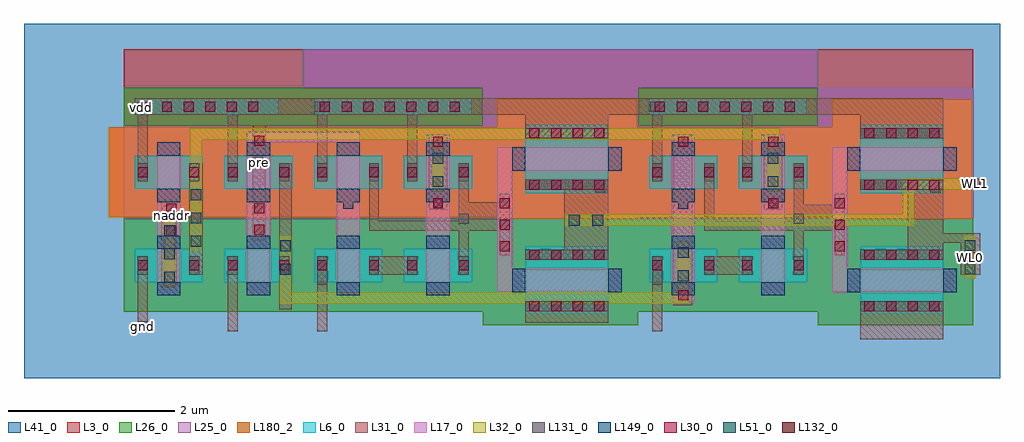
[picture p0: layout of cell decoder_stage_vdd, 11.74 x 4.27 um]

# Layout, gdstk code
from math import pi, radians
import gdstk
lib = gdstk.Library(unit=1e-6, precision=1e-09)
def R(c, l, rs):  # rectangles x0, y0, x1, y1
    for r in rs: c.add(gdstk.rectangle(r[:2], r[2:], *l))
def A(c, l, x, y, w, h, nx, ny, dx, dy):  # array of equal rectangles
    R(c, l, [(x+i*dx, y+j*dy, x+i*dx+w, y+j*dy+h) for i in range(nx) for j in range(ny)])
L3_0 = (3, 0)
L6_0 = (6, 0)
L17_0 = (17, 0)
L25_0 = (25, 0)
L26_0 = (26, 0)
L30_0 = (30, 0)
L31_0 = (31, 0)
L32_0 = (32, 0)
L41_0 = (41, 0)
L51_0 = (51, 0)
L131_0 = (131, 0)
L132_0 = (132, 0)
L149_0 = (149, 0)
L180_2 = (180, 2)

pc_ct = lib.new_cell('pc_ct')
R(pc_ct, L30_0, [(0,0,0.12,0.12)])

nsvt25_cdns_588098100100 = lib.new_cell('nsvt25_CDNS_588098100100')
R(nsvt25_cdns_588098100100, L6_0, [(-0.27,0,0,0.4), (-0.27,0,0.55,0.4), (0.28,0,0.55,0.4)])
R(nsvt25_cdns_588098100100, L17_0, [(0,-0.16,0.28,0.56)])
R(nsvt25_cdns_588098100100, L26_0, [(-0.4,-0.36,0.68,0.76)])
R(nsvt25_cdns_588098100100, L31_0, [(-0.23,0.09,-0.11,0.31), (0.39,0.09,0.51,0.31)])
R(nsvt25_cdns_588098100100, L41_0, [(-0.54,-0.34,0.82,0.74)])
R(nsvt25_cdns_588098100100, L131_0, [(-0.23,0.09,-0.11,0.31), (0.39,0.09,0.51,0.31)])
R(nsvt25_cdns_588098100100, L149_0, [(0,-0.16,0.28,0), (0,0.4,0.28,0.56)])
r = gdstk.Reference(pc_ct, (0.39,0.14)); r.repetition = gdstk.Repetition(1, 1, v1=(0.26,0), v2=(0,0.26)); nsvt25_cdns_588098100100.add(r)
r = gdstk.Reference(pc_ct, (-0.23,0.14)); r.repetition = gdstk.Repetition(1, 1, v1=(0.26,0), v2=(0,0.26)); nsvt25_cdns_588098100100.add(r)
nsvt25_cdns_588098100100.add(gdstk.Label('d', (0.28,0), layer=6, texttype=0))
nsvt25_cdns_588098100100.add(gdstk.Label('s', (0,0), layer=6, texttype=0))
nsvt25_cdns_588098100100.add(gdstk.Label('d', (0.415,0.2), layer=127, texttype=0))
nsvt25_cdns_588098100100.add(gdstk.Label('s', (-0.135,0.2), layer=127, texttype=0))
nsvt25_cdns_588098100100.add(gdstk.Label('d', (0.45,0.2), layer=131, texttype=0))
nsvt25_cdns_588098100100.add(gdstk.Label('s', (-0.17,0.2), layer=131, texttype=0))
nsvt25_cdns_588098100100.add(gdstk.Label('g', (0.14,0.48), layer=149, texttype=0))
nsvt25_cdns_588098100100.add(gdstk.Label('g', (0.14,-0.08), layer=149, texttype=0))

psvt25_cdns_588098100101 = lib.new_cell('psvt25_CDNS_588098100101')
R(psvt25_cdns_588098100101, L3_0, [(-0.58,-0.34,0.86,0.74)])
R(psvt25_cdns_588098100101, L6_0, [(-0.27,0,0,0.4), (-0.27,0,0.55,0.4), (0.28,0,0.55,0.4)])
R(psvt25_cdns_588098100101, L17_0, [(0,-0.16,0.28,0.56)])
R(psvt25_cdns_588098100101, L25_0, [(-0.4,-0.36,0.68,0.76)])
R(psvt25_cdns_588098100101, L31_0, [(-0.23,0.09,-0.11,0.31), (0.39,0.09,0.51,0.31)])
R(psvt25_cdns_588098100101, L41_0, [(-0.58,-0.34,0.86,0.74)])
R(psvt25_cdns_588098100101, L131_0, [(-0.23,0.09,-0.11,0.31), (0.39,0.09,0.51,0.31)])
R(psvt25_cdns_588098100101, L149_0, [(0,-0.16,0.28,0), (0,0.4,0.28,0.56)])
R(psvt25_cdns_588098100101, L180_2, [(-0.58,-0.34,0.86,0.74)])
r = gdstk.Reference(pc_ct, (0.39,0.14)); r.repetition = gdstk.Repetition(1, 1, v1=(0.26,0), v2=(0,0.26)); psvt25_cdns_588098100101.add(r)
r = gdstk.Reference(pc_ct, (-0.23,0.14)); r.repetition = gdstk.Repetition(1, 1, v1=(0.26,0), v2=(0,0.26)); psvt25_cdns_588098100101.add(r)
psvt25_cdns_588098100101.add(gdstk.Label('d', (0.28,0), layer=6, texttype=0))
psvt25_cdns_588098100101.add(gdstk.Label('s', (0,0), layer=6, texttype=0))
psvt25_cdns_588098100101.add(gdstk.Label('d', (0.415,0.2), layer=127, texttype=0))
psvt25_cdns_588098100101.add(gdstk.Label('s', (-0.135,0.2), layer=127, texttype=0))
psvt25_cdns_588098100101.add(gdstk.Label('d', (0.45,0.2), layer=131, texttype=0))
psvt25_cdns_588098100101.add(gdstk.Label('s', (-0.17,0.2), layer=131, texttype=0))
psvt25_cdns_588098100101.add(gdstk.Label('g', (0.14,0.48), layer=149, texttype=0))
psvt25_cdns_588098100101.add(gdstk.Label('g', (0.14,-0.08), layer=149, texttype=0))
psvt25_cdns_588098100101.add(gdstk.Label('b', (0.14,0.2), layer=180, texttype=2))

c_2bit_decoder_vdd = lib.new_cell('2bit_decoder_vdd')
R(c_2bit_decoder_vdd, L3_0, [(0,1.12,2.16,3.16)])
R(c_2bit_decoder_vdd, L17_0, [(0.4,0.92,0.68,1.32), (1.48,0.92,1.76,1.32), (0.4,2.04,0.68,2.13), (1.48,2.04,1.76,2.13)])
R(c_2bit_decoder_vdd, L25_0, [(0,2.7,2.16,3.16)])
R(c_2bit_decoder_vdd, L26_0, [(2.15,2.24,2.16,2.7)])
A(c_2bit_decoder_vdd, L30_0, 0.2, 2.41, 0.12, 0.12, 7, 1, 0.26, 0)
R(c_2bit_decoder_vdd, L41_0, [(-0.2,-0.46,2.34,2.7), (0,-0.46,2.16,2.7)])
R(c_2bit_decoder_vdd, L131_0, [(0.17,0.33,0.29,0.45), (1.87,1.06,1.99,1.18), (0.14,2.41,0.26,2.53)])
R(c_2bit_decoder_vdd, L149_0, [(0.48,1.24,0.6,1.36), (1.56,1.25,1.68,1.37)])
c_2bit_decoder_vdd.add(gdstk.FlexPath([(0.13,2.47),(2.02,2.47)], 0.2, ends="flush", simple_path=True, layer=6, datatype=0))  # L6_0
c_2bit_decoder_vdd.add(gdstk.FlexPath([(1.93,0.67),(1.93,1.04)], 0.12, ends=(0, 0.06), simple_path=True, layer=31, datatype=0))  # L31_0
c_2bit_decoder_vdd.add(gdstk.FlexPath([(0.85,1.04),(1.93,1.04)], 0.12, ends="extended", simple_path=True, layer=31, datatype=0))  # L31_0
c_2bit_decoder_vdd.add(gdstk.FlexPath([(0.85,1.57),(0.85,1.04)], 0.12, ends=(0, 0.06), simple_path=True, layer=31, datatype=0))  # L31_0
c_2bit_decoder_vdd.add(gdstk.FlexPath([(1.93,1.04),(1.93,1.57)], 0.12, ends=(0.06, 0), simple_path=True, layer=31, datatype=0))  # L31_0
c_2bit_decoder_vdd.add(gdstk.FlexPath([(0.91,0.56),(1.25,0.56)], 0.22, ends="flush", simple_path=True, layer=31, datatype=0))  # L31_0
c_2bit_decoder_vdd.add(gdstk.FlexPath([(0.23,0.45),(0.23,-0.23)], 0.12, ends="flush", simple_path=True, layer=31, datatype=0))  # L31_0
c_2bit_decoder_vdd.add(gdstk.FlexPath([(1.31,1.79),(1.31,2.47)], 0.12, ends="flush", simple_path=True, layer=31, datatype=0))  # L31_0
c_2bit_decoder_vdd.add(gdstk.FlexPath([(0.23,1.79),(0.23,2.41)], 0.12, ends="flush", simple_path=True, layer=31, datatype=0))  # L31_0
c_2bit_decoder_vdd.add(gdstk.FlexPath([(0.13,2.47),(2.02,2.47)], 0.2, ends="flush", simple_path=True, layer=31, datatype=0))  # L31_0
c_2bit_decoder_vdd.add(gdstk.FlexPath([(0,2.47),(2.15,2.47)], 0.46, ends="flush", simple_path=True, layer=26, datatype=0))  # L26_0
c_2bit_decoder_vdd.add(gdstk.Reference(nsvt25_cdns_588098100100, (0.4,0.36)))
c_2bit_decoder_vdd.add(gdstk.Reference(nsvt25_cdns_588098100100, (1.48,0.36)))
c_2bit_decoder_vdd.add(gdstk.Reference(psvt25_cdns_588098100101, (1.48,1.48)))
c_2bit_decoder_vdd.add(gdstk.Reference(psvt25_cdns_588098100101, (0.4,1.48)))
c_2bit_decoder_vdd.add(gdstk.Label('out', (1.93,1.12), layer=131, texttype=0))
c_2bit_decoder_vdd.add(gdstk.Label('gnd', (0.23,0.39), layer=131, texttype=0))
c_2bit_decoder_vdd.add(gdstk.Label('vdd', (0.2,2.47), layer=131, texttype=0))
c_2bit_decoder_vdd.add(gdstk.Label('IN2', (0.54,1.3), layer=149, texttype=0))
c_2bit_decoder_vdd.add(gdstk.Label('IN1', (1.62,1.31), layer=149, texttype=0))

nsvt25_cdns_588098100102 = lib.new_cell('nsvt25_CDNS_588098100102')
R(nsvt25_cdns_588098100102, L6_0, [(-0.27,0,0,1), (-0.27,0,0.55,1), (0.28,0,0.55,1)])
R(nsvt25_cdns_588098100102, L17_0, [(0,-0.16,0.28,1.16)])
R(nsvt25_cdns_588098100102, L26_0, [(-0.4,-0.36,0.68,1.36)])
R(nsvt25_cdns_588098100102, L31_0, [(-0.23,0,-0.11,1), (0.39,0,0.51,1)])
R(nsvt25_cdns_588098100102, L41_0, [(-0.54,-0.34,0.82,1.34)])
R(nsvt25_cdns_588098100102, L131_0, [(-0.23,0,-0.11,1), (0.39,0,0.51,1)])
R(nsvt25_cdns_588098100102, L149_0, [(0,-0.16,0.28,0), (0,1,0.28,1.16)])
r = gdstk.Reference(pc_ct, (0.39,0.05)); r.repetition = gdstk.Repetition(1, 4, v1=(0.26,0), v2=(0,0.26)); nsvt25_cdns_588098100102.add(r)
r = gdstk.Reference(pc_ct, (-0.23,0.05)); r.repetition = gdstk.Repetition(1, 4, v1=(0.26,0), v2=(0,0.26)); nsvt25_cdns_588098100102.add(r)
nsvt25_cdns_588098100102.add(gdstk.Label('d', (0.28,0), layer=6, texttype=0))
nsvt25_cdns_588098100102.add(gdstk.Label('s', (0,0), layer=6, texttype=0))
nsvt25_cdns_588098100102.add(gdstk.Label('d', (0.415,0.5), layer=127, texttype=0))
nsvt25_cdns_588098100102.add(gdstk.Label('s', (-0.135,0.5), layer=127, texttype=0))
nsvt25_cdns_588098100102.add(gdstk.Label('d', (0.45,0.5), layer=131, texttype=0))
nsvt25_cdns_588098100102.add(gdstk.Label('s', (-0.17,0.5), layer=131, texttype=0))
nsvt25_cdns_588098100102.add(gdstk.Label('g', (0.14,1.08), layer=149, texttype=0))
nsvt25_cdns_588098100102.add(gdstk.Label('g', (0.14,-0.08), layer=149, texttype=0))

psvt25_cdns_588098100103 = lib.new_cell('psvt25_CDNS_588098100103')
R(psvt25_cdns_588098100103, L3_0, [(-0.58,-0.34,0.86,1.34)])
R(psvt25_cdns_588098100103, L6_0, [(-0.27,0,0,1), (-0.27,0,0.55,1), (0.28,0,0.55,1)])
R(psvt25_cdns_588098100103, L17_0, [(0,-0.16,0.28,1.16)])
R(psvt25_cdns_588098100103, L25_0, [(-0.4,-0.36,0.68,1.36)])
R(psvt25_cdns_588098100103, L31_0, [(-0.23,0,-0.11,1), (0.39,0,0.51,1)])
R(psvt25_cdns_588098100103, L41_0, [(-0.58,-0.34,0.86,1.34)])
R(psvt25_cdns_588098100103, L131_0, [(-0.23,0,-0.11,1), (0.39,0,0.51,1)])
R(psvt25_cdns_588098100103, L149_0, [(0,-0.16,0.28,0), (0,1,0.28,1.16)])
R(psvt25_cdns_588098100103, L180_2, [(-0.58,-0.34,0.86,1.34)])
r = gdstk.Reference(pc_ct, (0.39,0.05)); r.repetition = gdstk.Repetition(1, 4, v1=(0.26,0), v2=(0,0.26)); psvt25_cdns_588098100103.add(r)
r = gdstk.Reference(pc_ct, (-0.23,0.05)); r.repetition = gdstk.Repetition(1, 4, v1=(0.26,0), v2=(0,0.26)); psvt25_cdns_588098100103.add(r)
psvt25_cdns_588098100103.add(gdstk.Label('d', (0.28,0), layer=6, texttype=0))
psvt25_cdns_588098100103.add(gdstk.Label('s', (0,0), layer=6, texttype=0))
psvt25_cdns_588098100103.add(gdstk.Label('d', (0.415,0.5), layer=127, texttype=0))
psvt25_cdns_588098100103.add(gdstk.Label('s', (-0.135,0.5), layer=127, texttype=0))
psvt25_cdns_588098100103.add(gdstk.Label('d', (0.45,0.5), layer=131, texttype=0))
psvt25_cdns_588098100103.add(gdstk.Label('s', (-0.17,0.5), layer=131, texttype=0))
psvt25_cdns_588098100103.add(gdstk.Label('g', (0.14,1.08), layer=149, texttype=0))
psvt25_cdns_588098100103.add(gdstk.Label('g', (0.14,-0.08), layer=149, texttype=0))
psvt25_cdns_588098100103.add(gdstk.Label('b', (0.14,0.5), layer=180, texttype=2))

m1__po_cdns_588098100105 = lib.new_cell('M1__PO_CDNS_588098100105')
R(m1__po_cdns_588098100105, L17_0, [(-0.08,-0.37,0.08,0.37)])
A(m1__po_cdns_588098100105, L30_0, -0.06, -0.32, 0.12, 0.12, 1, 3, 0, 0.26)
R(m1__po_cdns_588098100105, L31_0, [(-0.06,-0.37,0.06,0.37)])

c_1u_invertor = lib.new_cell('1u_invertor')
R(c_1u_invertor, L17_0, [(0.26,0.39,0.44,0.49), (0.26,0.49,0.44,2.02), (0.26,2,0.44,2.06), (0.26,2.06,0.44,2.08), (0.26,2.08,0.44,2.13)])
R(c_1u_invertor, L25_0, [(0.09,1.27,0.24,2.71), (0.24,1.27,1.96,1.45), (0.24,2.53,1.96,2.71)])
R(c_1u_invertor, L26_0, [(0.09,-0.01,0.24,0.09), (0.09,0.09,1.96,1.22), (0.09,1.22,1.96,1.27)])
R(c_1u_invertor, L31_0, [(1.17,0.9,1.6,0.97), (1.17,0.97,1.6,1.71)])
R(c_1u_invertor, L41_0, [(0.08,-0.08,1.96,2.58)])
R(c_1u_invertor, L131_0, [(0.98,0.16,1.1,0.28), (0.29,1.14,0.41,1.26), (1.44,1.59,1.56,1.71), (0.78,2.24,0.9,2.36)])
c_1u_invertor.add(gdstk.Reference(nsvt25_cdns_588098100102, (1.6,0.39), rotation=pi/2))
c_1u_invertor.add(gdstk.Reference(psvt25_cdns_588098100103, (0.6,2.13), rotation=3*pi/2))
c_1u_invertor.add(gdstk.Reference(m1__po_cdns_588098100105, (0.35,1.2)))
c_1u_invertor.add(gdstk.Label('out', (1.5,1.65), layer=131, texttype=0))
c_1u_invertor.add(gdstk.Label('in', (0.35,1.2), layer=131, texttype=0))
c_1u_invertor.add(gdstk.Label('vdd', (0.84,2.3), layer=131, texttype=0))
c_1u_invertor.add(gdstk.Label('gnd', (1.04,0.22), layer=131, texttype=0))

m1__po_cdns_588098100100 = lib.new_cell('M1__PO_CDNS_588098100100')
R(m1__po_cdns_588098100100, L17_0, [(-0.08,-0.11,0.08,0.11)])
R(m1__po_cdns_588098100100, L30_0, [(-0.06,-0.06,0.06,0.06)])
R(m1__po_cdns_588098100100, L31_0, [(-0.06,-0.11,0.06,0.11)])

m1__po_cdns_588098100101 = lib.new_cell('M1__PO_CDNS_588098100101')
R(m1__po_cdns_588098100101, L17_0, [(-0.08,-0.24,0.08,0.24)])
R(m1__po_cdns_588098100101, L30_0, [(-0.06,-0.19,0.06,-0.07), (-0.06,0.07,0.06,0.19)])
R(m1__po_cdns_588098100101, L31_0, [(-0.06,-0.24,0.06,0.24)])

m2_m1_g_cdns_58809810010 = lib.new_cell('M2_M1_G_CDNS_588098100102')
R(m2_m1_g_cdns_58809810010, L31_0, [(-0.395,-0.07,0.395,0.07)])
R(m2_m1_g_cdns_58809810010, L32_0, [(-0.395,-0.07,0.395,0.07)])
A(m2_m1_g_cdns_58809810010, L51_0, -0.345, -0.065, 0.13, 0.13, 3, 1, 0.28, 0)

m2_m1_s_cdns_58809810010 = lib.new_cell('M2_M1_S_CDNS_588098100103')
R(m2_m1_s_cdns_58809810010, L31_0, [(-0.21,-0.115,0.21,0.115)])
R(m2_m1_s_cdns_58809810010, L32_0, [(-0.255,-0.07,0.255,0.07)])
R(m2_m1_s_cdns_58809810010, L51_0, [(-0.205,-0.065,-0.075,0.065), (0.075,-0.065,0.205,0.065)])

c_m2_m1_g_cdns_58809810010 = lib.new_cell('M2_M1_G_CDNS_588098100104')
R(c_m2_m1_g_cdns_58809810010, L31_0, [(-0.255,-0.07,0.255,0.07)])
R(c_m2_m1_g_cdns_58809810010, L32_0, [(-0.255,-0.07,0.255,0.07)])
R(c_m2_m1_g_cdns_58809810010, L51_0, [(-0.205,-0.065,-0.075,0.065), (0.075,-0.065,0.205,0.065)])

decoder_stage_vdd = lib.new_cell('decoder_stage_vdd')
R(decoder_stage_vdd, L3_0, [(0,1.12,10.22,3.16)])
R(decoder_stage_vdd, L17_0, [(6.59,0.12,6.87,0.2), (0.4,0.92,0.68,1.32), (1.48,0.92,1.76,1.32), (1.48,2.04,1.76,2.17), (1.76,2.04,2.84,2.17)])
R(decoder_stage_vdd, L25_0, [(4.32,2.38,6.19,3.16), (8.35,2.56,10.22,2.7)])
R(decoder_stage_vdd, L26_0, [(1.99,2.24,2.16,2.7)])
A(decoder_stage_vdd, L30_0, 0.2, 2.41, 0.12, 0.12, 6, 1, 0.26, 0)
R(decoder_stage_vdd, L31_0, [(8.86,-0.33,9.86,0.11), (4.83,-0.13,5.83,0.01), (1.99,0.03,2.02,1.79), (6.61,0.08,6.84,1.23), (0.45,0.3,0.64,1.35), (0.91,0.45,0.95,1.79), (5.3,0.75,5.4,0.85), (5.3,0.85,5.4,0.91), (1.55,0.86,1.71,2.24), (5.3,0.91,5.4,0.95), (5.3,0.95,5.66,0.99), (4.15,0.98,4.52,1.32), (8.18,0.98,8.55,1.29), (5.3,0.99,5.66,1.47), (3.67,1.23,3.89,1.99), (6.61,1.23,6.84,1.99), (7.7,1.23,7.92,1.99), (5.3,1.47,5.4,1.53), (6.61,1.99,6.62,2.13), (3.67,2.11,3.89,2.13), (6.62,2.11,6.84,2.13), (7.7,2.11,7.92,2.13), (4.83,2.21,5.83,2.37), (8.86,2.21,9.86,2.37)])
R(decoder_stage_vdd, L41_0, [(-1.2,-0.8,10.54,3.47), (-0.99,-0.44,9.23,3.18)])
R(decoder_stage_vdd, L131_0, [(0.17,-0.23,0.29,-0.11), (0.51,1.1,0.63,1.22), (1.56,1.74,1.68,1.86), (0.15,2.4,0.27,2.52)])
R(decoder_stage_vdd, L132_0, [(10.12,0.6,10.24,0.72), (10.18,1.48,10.3,1.6)])
decoder_stage_vdd.add(gdstk.FlexPath([(6.73,0.17),(6.73,0.85)], 0.14, ends=(0.07, 0), simple_path=True, layer=32, datatype=0))  # L32_0
decoder_stage_vdd.add(gdstk.FlexPath([(1.945,0.17),(6.73,0.17)], 0.14, ends="extended", simple_path=True, layer=32, datatype=0))  # L32_0
decoder_stage_vdd.add(gdstk.FlexPath([(7.82,2.14),(7.82,1.46)], 0.14, ends=(0.07, 0), simple_path=True, layer=32, datatype=0))  # L32_0
decoder_stage_vdd.add(gdstk.FlexPath([(5.56,1.105),(9.44,1.105)], 0.14, ends=(0, 0.07), simple_path=True, layer=32, datatype=0))  # L32_0
decoder_stage_vdd.add(gdstk.FlexPath([(9.44,1.105),(9.44,1.54)], 0.14, ends="extended", simple_path=True, layer=32, datatype=0))  # L32_0
decoder_stage_vdd.add(gdstk.FlexPath([(0.87,2.14),(3.78,2.14)], 0.14, ends="extended", simple_path=True, layer=32, datatype=0))  # L32_0
decoder_stage_vdd.add(gdstk.FlexPath([(9.44,1.54),(10.3,1.54)], 0.14, ends=(0.07, 0), simple_path=True, layer=32, datatype=0))  # L32_0
decoder_stage_vdd.add(gdstk.FlexPath([(3.78,2.14),(7.82,2.14)], 0.14, ends="extended", simple_path=True, layer=32, datatype=0))  # L32_0
decoder_stage_vdd.add(gdstk.FlexPath([(3.78,2.14),(3.78,1.71)], 0.14, ends=(0.07, 0), simple_path=True, layer=32, datatype=0))  # L32_0
decoder_stage_vdd.add(gdstk.FlexPath([(1.945,0.655),(1.945,0.17)], 0.14, ends=(0, 0.07), simple_path=True, layer=32, datatype=0))  # L32_0
decoder_stage_vdd.add(gdstk.FlexPath([(7.81,2.14),(7.81,1.71)], 0.14, ends=(0.07, 0), simple_path=True, layer=32, datatype=0))  # L32_0
decoder_stage_vdd.add(gdstk.FlexPath([(0.87,1.13),(0.87,2.14)], 0.14, ends=(0, 0.07), simple_path=True, layer=32, datatype=0))  # L32_0
decoder_stage_vdd.add(gdstk.FlexPath([(0,2.47),(1.99,2.47)], 0.46, ends="flush", simple_path=True, layer=26, datatype=0))  # L26_0
decoder_stage_vdd.add(gdstk.FlexPath([(1.93,0.45),(1.93,0.03)], 0.12, ends="flush", simple_path=True, layer=31, datatype=0))  # L31_0
decoder_stage_vdd.add(gdstk.FlexPath([(1.31,1.79),(1.31,2.47)], 0.12, ends="flush", simple_path=True, layer=31, datatype=0))  # L31_0
decoder_stage_vdd.add(gdstk.FlexPath([(1.31,0.45),(1.31,-0.23)], 0.12, ends="flush", simple_path=True, layer=31, datatype=0))  # L31_0
decoder_stage_vdd.add(gdstk.FlexPath([(9.86,0.89),(10.24,0.89)], 0.12, ends=(0, 0.06), simple_path=True, layer=31, datatype=0))  # L31_0
decoder_stage_vdd.add(gdstk.FlexPath([(10.24,0.89),(10.24,0.45)], 0.12, ends=(0.06, 0), simple_path=True, layer=31, datatype=0))  # L31_0
decoder_stage_vdd.add(gdstk.FlexPath([(8.21,2.47),(9.86,2.47)], 0.2, ends="flush", simple_path=True, layer=31, datatype=0))  # L31_0
decoder_stage_vdd.add(gdstk.FlexPath([(0.23,0.45),(0.23,-0.23)], 0.12, ends="flush", simple_path=True, layer=31, datatype=0))  # L31_0
decoder_stage_vdd.add(gdstk.FlexPath([(0.23,1.79),(0.23,2.47)], 0.12, ends="flush", simple_path=True, layer=31, datatype=0))  # L31_0
decoder_stage_vdd.add(gdstk.FlexPath([(4.18,2.47),(6.33,2.47)], 0.2, ends="flush", simple_path=True, layer=31, datatype=0))  # L31_0
decoder_stage_vdd.add(gdstk.FlexPath([(1.86,2.47),(2.3,2.47)], 0.2, ends="flush", simple_path=True, layer=31, datatype=0))  # L31_0
decoder_stage_vdd.add(gdstk.FlexPath([(0.13,2.47),(1.86,2.47)], 0.2, ends="flush", simple_path=True, layer=31, datatype=0))  # L31_0
decoder_stage_vdd.add(gdstk.FlexPath([(0.85,1.57),(0.85,0.67)], 0.12, ends="flush", simple_path=True, layer=31, datatype=0))  # L31_0
decoder_stage_vdd.add(gdstk.FlexPath([(1.93,0.67),(1.93,1.57)], 0.12, ends="flush", simple_path=True, layer=31, datatype=0))  # L31_0
decoder_stage_vdd.add(gdstk.FlexPath([(0.13,2.47),(1.86,2.47)], 0.2, ends="flush", simple_path=True, layer=6, datatype=0))  # L6_0
decoder_stage_vdd.add(gdstk.Reference(c_2bit_decoder_vdd, (6.19,0)))
decoder_stage_vdd.add(gdstk.Reference(c_2bit_decoder_vdd, (2.16,0)))
decoder_stage_vdd.add(gdstk.Reference(c_1u_invertor, (8.26,-0.15)))
decoder_stage_vdd.add(gdstk.Reference(c_1u_invertor, (4.23,-0.15)))
decoder_stage_vdd.add(gdstk.Reference(nsvt25_cdns_588098100100, (0.4,0.36)))
decoder_stage_vdd.add(gdstk.Reference(nsvt25_cdns_588098100100, (1.48,0.36)))
decoder_stage_vdd.add(gdstk.Reference(psvt25_cdns_588098100101, (0.4,1.48)))
decoder_stage_vdd.add(gdstk.Reference(psvt25_cdns_588098100101, (1.48,1.48)))
decoder_stage_vdd.add(gdstk.Reference(m1__po_cdns_588098100100, (6.73,0.2), rotation=pi/2))
decoder_stage_vdd.add(gdstk.Reference(m1__po_cdns_588098100100, (6.73,2.05), rotation=pi/2))
decoder_stage_vdd.add(gdstk.Reference(m1__po_cdns_588098100100, (7.81,1.31), rotation=pi/2))
decoder_stage_vdd.add(gdstk.Reference(m1__po_cdns_588098100100, (7.81,2.05), rotation=pi/2))
decoder_stage_vdd.add(gdstk.Reference(m1__po_cdns_588098100100, (3.78,1.31), rotation=pi/2))
decoder_stage_vdd.add(gdstk.Reference(m1__po_cdns_588098100100, (3.78,2.05), rotation=pi/2))
decoder_stage_vdd.add(gdstk.Reference(m1__po_cdns_588098100100, (1.63,2.06)))
decoder_stage_vdd.add(gdstk.Reference(m1__po_cdns_588098100101, (0.57,1.11)))
decoder_stage_vdd.add(gdstk.Reference(m1__po_cdns_588098100101, (1.63,1.12)))
decoder_stage_vdd.add(gdstk.Reference(m2_m1_g_cdns_58809810010, (0.87,1.13), rotation=pi/2))
decoder_stage_vdd.add(gdstk.Reference(m2_m1_g_cdns_58809810010, (0.55,0.7), rotation=pi/2))
decoder_stage_vdd.add(gdstk.Reference(m2_m1_s_cdns_58809810010, (10.18,0.66), rotation=3*pi/2))
decoder_stage_vdd.add(gdstk.Reference(m2_m1_s_cdns_58809810010, (5.56,1.105)))
decoder_stage_vdd.add(gdstk.Reference(c_m2_m1_g_cdns_58809810010, (6.73,0.575), rotation=pi/2))
decoder_stage_vdd.add(gdstk.Reference(c_m2_m1_g_cdns_58809810010, (1.945,0.655), rotation=pi/2))
decoder_stage_vdd.add(gdstk.Reference(c_m2_m1_g_cdns_58809810010, (7.81,1.71), rotation=pi/2))
decoder_stage_vdd.add(gdstk.Reference(c_m2_m1_g_cdns_58809810010, (3.78,1.71), rotation=pi/2))
decoder_stage_vdd.add(gdstk.Label('naddr', (0.57,1.16), layer=131, texttype=0))
decoder_stage_vdd.add(gdstk.Label('pre', (1.62,1.8), layer=131, texttype=0))
decoder_stage_vdd.add(gdstk.Label('gnd', (0.23,-0.17), layer=131, texttype=0))
decoder_stage_vdd.add(gdstk.Label('vdd', (0.21,2.46), layer=131, texttype=0))
decoder_stage_vdd.add(gdstk.Label('WL0', (10.18,0.66), layer=132, texttype=0))
decoder_stage_vdd.add(gdstk.Label('WL1', (10.24,1.54), layer=132, texttype=0))

lib.write_gds('decoder_stage_vdd.gds')
